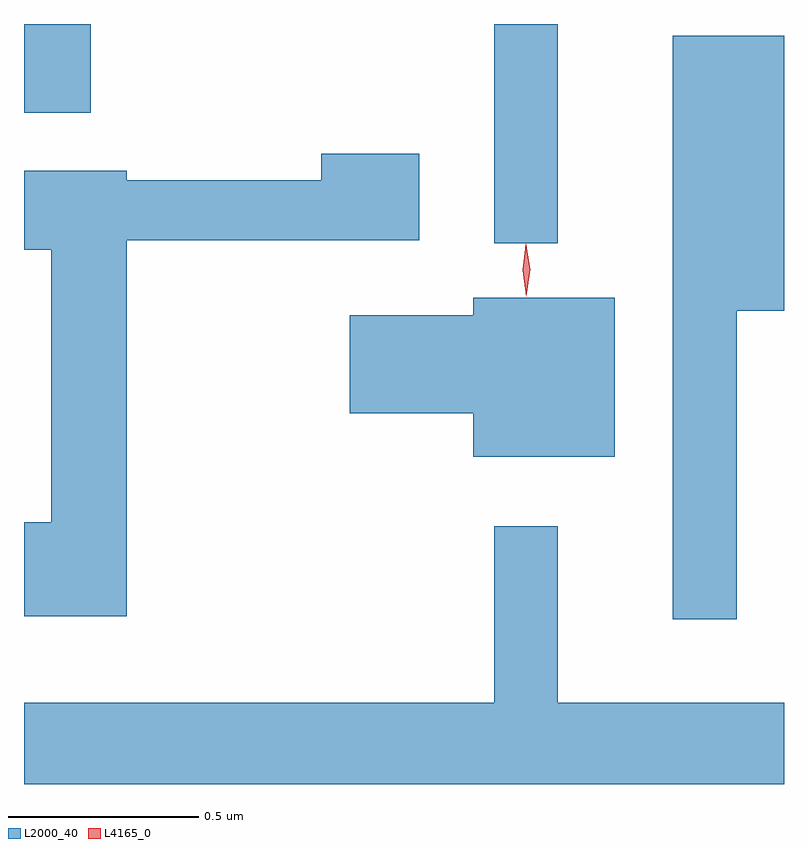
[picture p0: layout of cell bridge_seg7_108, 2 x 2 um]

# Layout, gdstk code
import gdstk
lib = gdstk.Library(unit=1e-6, precision=1e-09)
def R(c, l, rs):  # rectangles x0, y0, x1, y1
    for r in rs: c.add(gdstk.rectangle(r[:2], r[2:], *l))
def P(c, l, *ps):  # polygons
    for p in ps: c.add(gdstk.Polygon(p, *l))
L2000_40 = (2000, 40)
L4165_0 = (4165, 0)

bridge_seg7_108 = lib.new_cell('bridge_seg7_108')
R(bridge_seg7_108, L2000_40, [(1660.571,1744.653,1660.739,1745.23), (1659.334,1744.996,1659.509,1745.23)])
P(bridge_seg7_108, L2000_40, [(1661.209,1744.476),(1661.334,1744.476),(1661.334,1745.199),(1661.041,1745.199),(1661.041,1743.663),(1661.209,1743.663)],
  [(1659.604,1744.661),(1660.374,1744.661),(1660.374,1744.889),(1660.116,1744.889),(1660.116,1744.819),(1659.604,1744.819),(1659.604,1744.844),(1659.334,1744.844),(1659.334,1744.636),(1659.406,1744.636),(1659.406,1743.919),(1659.334,1743.919),(1659.334,1743.671),(1659.604,1743.671)],
  [(1660.889,1744.509),(1660.516,1744.509),(1660.516,1744.464),(1660.191,1744.464),(1660.191,1744.206),(1660.516,1744.206),(1660.516,1744.091),(1660.889,1744.091)],
  [(1661.334,1743.444),(1660.739,1743.444),(1660.739,1743.908),(1660.571,1743.908),(1660.571,1743.444),(1659.334,1743.444),(1659.334,1743.23),(1661.334,1743.23)])
P(bridge_seg7_108, L4165_0, [(1660.656,1744.521),(1660.646,1744.584),(1660.655,1744.647),(1660.655,1744.647),(1660.656,1744.647),(1660.666,1744.584),(1660.657,1744.521),(1660.657,1744.521)],
  [(1660.656,1744.514),(1660.656,1744.514),(1660.646,1744.582),(1660.654,1744.65),(1660.655,1744.65),(1660.656,1744.65),(1660.665,1744.582),(1660.656,1744.514)])

lib.write_gds('bridge_seg7_108.gds')
